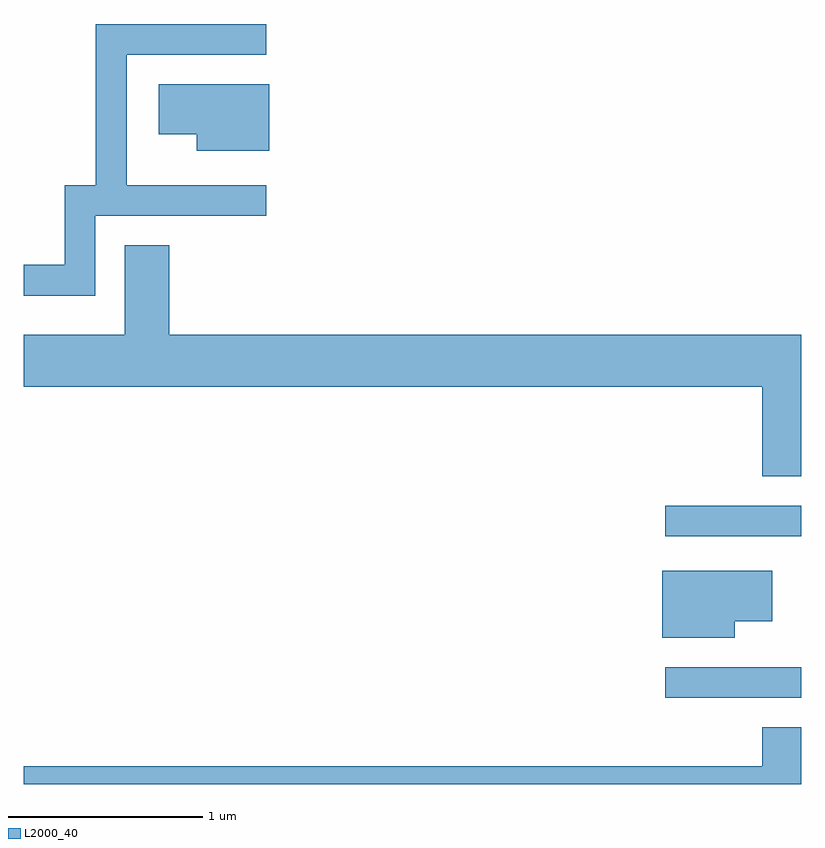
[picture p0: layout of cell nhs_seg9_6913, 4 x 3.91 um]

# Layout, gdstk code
import gdstk
lib = gdstk.Library(unit=1e-6, precision=1e-09)
def R(c, l, rs):  # rectangles x0, y0, x1, y1
    for r in rs: c.add(gdstk.rectangle(r[:2], r[2:], *l))
def P(c, l, *ps):  # polygons
    for p in ps: c.add(gdstk.Polygon(p, *l))
L2000_40 = (2000, 40)

nhs_seg9_6913 = lib.new_cell('nhs_seg9_6913')
R(nhs_seg9_6913, L2000_40, [(392.913,1996.876,393.611,1997.034), (392.913,1997.706,393.611,1997.864)])
P(nhs_seg9_6913, L2000_40, [(389.979,1999.356),(390.858,1999.356),(390.858,1999.514),(390.139,1999.514),(390.139,2000.186),(390.858,2000.186),(390.858,2000.344),(389.981,2000.344),(389.981,1999.514),(389.821,1999.514),(389.821,1999.104),(389.611,1999.104),(389.611,1998.946),(389.979,1998.946)],
  [(390.874,2000.034),(390.306,2000.034),(390.306,1999.776),(390.501,1999.776),(390.501,1999.691),(390.874,1999.691)],
  [(393.611,1998.744),(390.359,1998.744),(390.359,1999.204),(390.131,1999.204),(390.131,1998.744),(389.611,1998.744),(389.611,1998.476),(393.411,1998.476),(393.411,1998.016),(393.611,1998.016)],
  [(393.269,1997.271),(393.464,1997.271),(393.464,1997.529),(392.896,1997.529),(392.896,1997.186),(393.269,1997.186)],
  [(389.611,1996.432),(393.611,1996.432),(393.611,1996.724),(393.411,1996.724),(393.411,1996.524),(389.611,1996.524)])

lib.write_gds('nhs_seg9_6913.gds')
